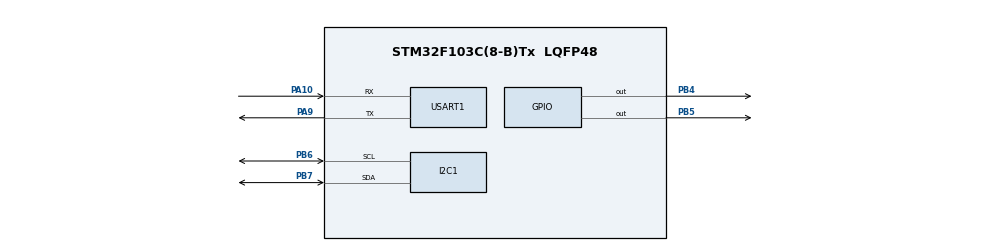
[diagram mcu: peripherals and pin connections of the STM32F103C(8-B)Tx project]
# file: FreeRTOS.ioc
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FREERTOS.Tasks01=defaultTask,0,128,StartDefaultTask,Default
Mcu.Family=STM32F1
Mcu.Name=STM32F103C(8-B)Tx
Mcu.Package=LQFP48
NVIC.PriorityGroup=NVIC_PRIORITYGROUP_4
NVIC.TIM1_UP_IRQn=true\:0\:0\:false\:false\:true\:false
NVIC.TimeBase=TIM1_UP_IRQn
NVIC.TimeBaseIP=TIM1
PA10.Mode=Asynchronous
PA10.Signal=USART1_RX
PA9.Mode=Asynchronous
PA9.Signal=USART1_TX
PB4.GPIO_ModeDefaultOutputPP=GPIO_MODE_OUTPUT_OD
PB4.GPIO_Speed=GPIO_SPEED_FREQ_HIGH
PB4.Signal=GPIO_Output
PB5.GPIO_ModeDefaultOutputPP=GPIO_MODE_OUTPUT_OD
PB5.GPIO_Speed=GPIO_SPEED_FREQ_HIGH
PB5.PinState=GPIO_PIN_RESET
PB5.Signal=GPIO_Output
PB6.Mode=I2C
PB6.Signal=I2C1_SCL
PB7.Mode=I2C
PB7.Signal=I2C1_SDA
PD0-OSC_IN.Mode=HSE-External-Oscillator
PD0-OSC_IN.Signal=RCC_OSC_IN
PD1-OSC_OUT.Mode=HSE-External-Oscillator
PD1-OSC_OUT.Signal=RCC_OSC_OUT
ProjectManager.HeapSize=0x200
ProjectManager.StackSize=0x400
ProjectManager.TargetToolchain=MDK-ARM V5
RCC.APB1Freq_Value=8000000
RCC.APB2Freq_Value=8000000
VP_FREERTOS_VS_ENABLE.Mode=Enabled
VP_SYS_VS_ND.Mode=No_Debug
VP_SYS_VS_tim1.Mode=TIM1
board=FreeRTOS

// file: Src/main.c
/**
  ******************************************************************************
  * File Name          : main.c
  * Description        : Main program body
  ******************************************************************************
  *
  * Copyright (c) 2017 STMicroelectronics International N.V.
  * All rights reserved.
  *
  * Redistribution and use in source and binary forms, with or without
  * modification, are permitted, provided that the following conditions are met:
  *
  * 1. Redistribution of source code must retain the above copyright notice,
  *    this list of conditions and the following disclaimer.
  * 2. Redistributions in binary form must reproduce the above copyright notice,
  *    this list of conditions and the following disclaimer in the documentation
  *    and/or other materials provided with the distribution.
  * 3. Neither the name of STMicroelectronics nor the names of other
  *    contributors to this software may be used to endorse or promote products
  *    derived from this software without specific written permission.
  * 4. This software, including modifications and/or derivative works of this
  *    software, must execute solely and exclusively on microcontroller or
  *    microprocessor devices manufactured by or for STMicroelectronics.
  * 5. Redistribution and use of this software other than as permitted under
  *    this license is void and will automatically terminate your rights under
  *    this license.
  *
  * THIS SOFTWARE IS PROVIDED BY STMICROELECTRONICS AND CONTRIBUTORS "AS IS"
  * AND ANY EXPRESS, IMPLIED OR STATUTORY WARRANTIES, INCLUDING, BUT NOT
  * LIMITED TO, THE IMPLIED WARRANTIES OF MERCHANTABILITY, FITNESS FOR A
  * PARTICULAR PURPOSE AND NON-INFRINGEMENT OF THIRD PARTY INTELLECTUAL PROPERTY
  * RIGHTS ARE DISCLAIMED TO THE FULLEST EXTENT PERMITTED BY LAW. IN NO EVENT
  * SHALL STMICROELECTRONICS OR CONTRIBUTORS BE LIABLE FOR ANY DIRECT, INDIRECT,
  * INCIDENTAL, SPECIAL, EXEMPLARY, OR CONSEQUENTIAL DAMAGES (INCLUDING, BUT NOT
  * LIMITED TO, PROCUREMENT OF SUBSTITUTE GOODS OR SERVICES; LOSS OF USE, DATA,
  * OR PROFITS; OR BUSINESS INTERRUPTION) HOWEVER CAUSED AND ON ANY THEORY OF
  * LIABILITY, WHETHER IN CONTRACT, STRICT LIABILITY, OR TORT (INCLUDING
  * NEGLIGENCE OR OTHERWISE) ARISING IN ANY WAY OUT OF THE USE OF THIS SOFTWARE,
  * EVEN IF ADVISED OF THE POSSIBILITY OF SUCH DAMAGE.
  *
  ******************************************************************************
  */
#include "main.h"
#include "stm32f1xx_hal.h"
#include "cmsis_os.h"

/* USER CODE BEGIN Includes */
#include "fonts.h"
#include "ssd1306.h"
#include "bsp_i2c.h"
#include "mpu6050.h"
/* USER CODE END Includes */

I2C_HandleTypeDef hi2c1;

UART_HandleTypeDef huart1;

osThreadId defaultTaskHandle;

/* USER CODE BEGIN PV */
/* Private variables ---------------------------------------------------------*/
 short Accel[3];
	short Gyro [3];
	short Temp;
/* USER CODE END PV */

void SystemClock_Config(void);
void Error_Handler(void);
static void MX_GPIO_Init(void);
static void MX_I2C1_Init(void);
static void MX_USART1_UART_Init(void);
void StartDefaultTask(void const * argument);

/* USER CODE BEGIN PFP */
/* Private function prototypes -----------------------------------------------*/

/* USER CODE END PFP */

int main(void)
{

  /* MCU Configuration----------------------------------------------------------*/

  /* Reset of all peripherals, Initializes the Flash interface and the Systick. */
  HAL_Init();

  /* Configure the system clock */
  SystemClock_Config();

  /* Initialize all configured peripherals */
  MX_GPIO_Init();
  MX_I2C1_Init();
  MX_USART1_UART_Init();

  /* USER CODE BEGIN 2 */
	uint8_t res = SSD1306_Init();
	 MPU6050_Init();
  /* USER CODE END 2 */

  /* Create the thread(s) */
  /* definition and creation of defaultTask */
  osThreadDef(defaultTask, StartDefaultTask, osPriorityNormal, 0, 128);
  defaultTaskHandle = osThreadCreate(osThread(defaultTask), NULL);

  /* Start scheduler */
  osKernelStart();

  /* We should never get here as control is now taken by the scheduler */

  /* Infinite loop */
  while (1)
  {

  }

}

/** System Clock Configuration
*/
void SystemClock_Config(void)
{

  RCC_OscInitTypeDef RCC_OscInitStruct;
  RCC_ClkInitTypeDef RCC_ClkInitStruct;

    /**Initializes the CPU, AHB and APB busses clocks
    */
  RCC_OscInitStruct.OscillatorType = RCC_OSCILLATORTYPE_HSI;
  RCC_OscInitStruct.HSIState = RCC_HSI_ON;
  RCC_OscInitStruct.HSICalibrationValue = 16;
  RCC_OscInitStruct.PLL.PLLState = RCC_PLL_NONE;
  if (HAL_RCC_OscConfig(&RCC_OscInitStruct) != HAL_OK)
  {
    Error_Handler();
  }

    /**Initializes the CPU, AHB and APB busses clocks
    */
  RCC_ClkInitStruct.ClockType = RCC_CLOCKTYPE_HCLK|RCC_CLOCKTYPE_SYSCLK
                              |RCC_CLOCKTYPE_PCLK1|RCC_CLOCKTYPE_PCLK2;
  RCC_ClkInitStruct.SYSCLKSource = RCC_SYSCLKSOURCE_HSI;
  RCC_ClkInitStruct.AHBCLKDivider = RCC_SYSCLK_DIV1;
  RCC_ClkInitStruct.APB1CLKDivider = RCC_HCLK_DIV1;
  RCC_ClkInitStruct.APB2CLKDivider = RCC_HCLK_DIV1;

  if (HAL_RCC_ClockConfig(&RCC_ClkInitStruct, FLASH_LATENCY_0) != HAL_OK)
  {
    Error_Handler();
  }

    /**Configure the Systick interrupt time
    */
  HAL_SYSTICK_Config(HAL_RCC_GetHCLKFreq()/1000);

    /**Configure the Systick
    */
  HAL_SYSTICK_CLKSourceConfig(SYSTICK_CLKSOURCE_HCLK);

  /* SysTick_IRQn interrupt configuration */
  HAL_NVIC_SetPriority(SysTick_IRQn, 15, 0);
}

/* I2C1 init function */
static void MX_I2C1_Init(void)
{

  hi2c1.Instance = I2C1;
  hi2c1.Init.ClockSpeed = 100000;
  hi2c1.Init.DutyCycle = I2C_DUTYCYCLE_2;
  hi2c1.Init.OwnAddress1 = 0;
  hi2c1.Init.AddressingMode = I2C_ADDRESSINGMODE_7BIT;
  hi2c1.Init.DualAddressMode = I2C_DUALADDRESS_DISABLE;
  hi2c1.Init.OwnAddress2 = 0;
  hi2c1.Init.GeneralCallMode = I2C_GENERALCALL_DISABLE;
  hi2c1.Init.NoStretchMode = I2C_NOSTRETCH_DISABLE;
  if (HAL_I2C_Init(&hi2c1) != HAL_OK)
  {
    Error_Handler();
  }

}

/* USART1 init function */
static void MX_USART1_UART_Init(void)
{

  huart1.Instance = USART1;
  huart1.Init.BaudRate = 115200;
  huart1.Init.WordLength = UART_WORDLENGTH_8B;
  huart1.Init.StopBits = UART_STOPBITS_1;
  huart1.Init.Parity = UART_PARITY_NONE;
  huart1.Init.Mode = UART_MODE_TX_RX;
  huart1.Init.HwFlowCtl = UART_HWCONTROL_NONE;
  huart1.Init.OverSampling = UART_OVERSAMPLING_16;
  if (HAL_UART_Init(&huart1) != HAL_OK)
  {
    Error_Handler();
  }

}

/** Configure pins as
        * Analog
        * Input
        * Output
        * EVENT_OUT
        * EXTI
*/
static void MX_GPIO_Init(void)
{

  GPIO_InitTypeDef GPIO_InitStruct;

  /* GPIO Ports Clock Enable */
  __HAL_RCC_GPIOD_CLK_ENABLE();
  __HAL_RCC_GPIOA_CLK_ENABLE();
  __HAL_RCC_GPIOB_CLK_ENABLE();

  /*Configure GPIO pin Output Level */
  HAL_GPIO_WritePin(GPIOB, GPIO_PIN_4|GPIO_PIN_5, GPIO_PIN_RESET);

  /*Configure GPIO pins : PB4 PB5 */
  GPIO_InitStruct.Pin = GPIO_PIN_4|GPIO_PIN_5;
  GPIO_InitStruct.Mode = GPIO_MODE_OUTPUT_OD;
  GPIO_InitStruct.Speed = GPIO_SPEED_FREQ_HIGH;
  HAL_GPIO_Init(GPIOB, &GPIO_InitStruct);

}

/* StartDefaultTask function */
void StartDefaultTask(void const * argument)
{

  /* USER CODE BEGIN 5 */
  /* Infinite loop */
  for(;;)
  {
		MPU6050ReadAcc(Accel);
		MPU6050ReadGyro(Gyro);
		MPU6050_ReturnTemp(&Temp);
	int ss =Accel[0] ;int rr =Accel[1] ;int yy =Accel[2] ;

//	char str[20]; char rstr[20]; char ystr[20]; char ct[20];
//sprintf(str,"%d",ss); sprintf(rstr,"%d",rr); sprintf(ystr,"%d",yy);
////printf("yy");
//SSD1306_GotoXY(1,1);
//SSD1306_Puts(str, &Font_11x18, 1);

//
//SSD1306_GotoXY(1,19);
//SSD1306_Puts(rstr, &Font_16x26, 1);
//
// SSD1306_UpdateScreen();
//osDelay(10);
// SSD1306_Fill(0);
      MPU6050ReadAcc(Accel);
      printf("\r\n???: %8d%8d%8d    ",Accel[0],Accel[1],Accel[2]);
      MPU6050ReadGyro(Gyro);
      printf("???: %8d%8d%8d    ",Gyro[0],Gyro[1],Gyro[2]);
  }
  /* USER CODE END 5 */
}

void HAL_TIM_PeriodElapsedCallback(TIM_HandleTypeDef *htim)
{
  if (htim->Instance == TIM1) {
    HAL_IncTick();
  }
}

void Error_Handler(void)
{
  while(1)
  {
  }
}

/************************ (C) COPYRIGHT STMicroelectronics *****END OF FILE****/
